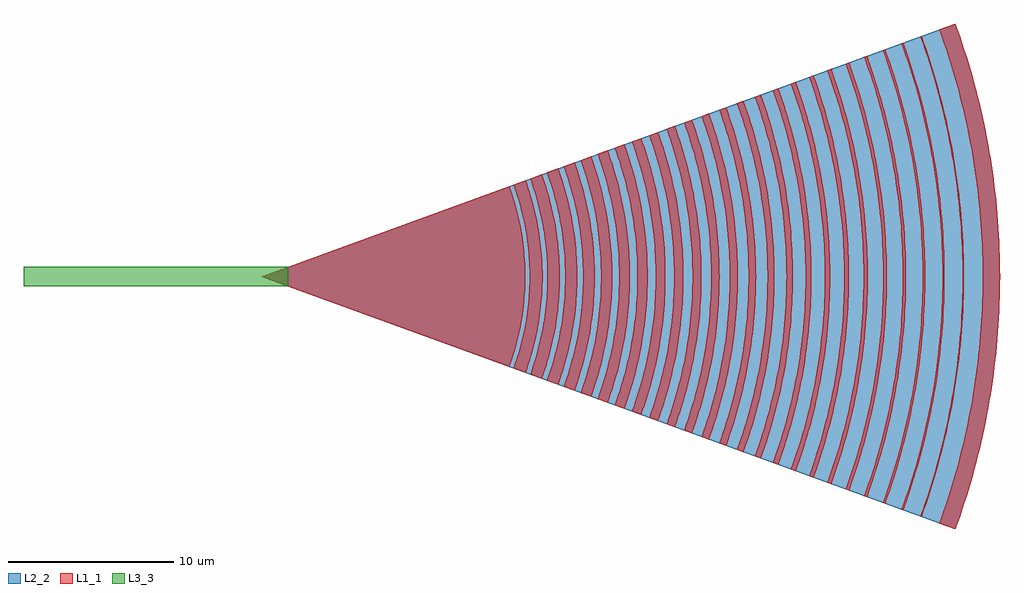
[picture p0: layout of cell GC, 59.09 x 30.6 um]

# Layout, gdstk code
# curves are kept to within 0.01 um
import gdstk
lib = gdstk.Library(unit=1e-6, precision=1e-09)
def R(c, l, rs):  # rectangles x0, y0, x1, y1
    for r in rs: c.add(gdstk.rectangle(r[:2], r[2:], *l))
def P(c, l, *ps):  # polygons
    for p in ps: c.add(gdstk.Polygon(p, *l))
L1_1 = (1, 1)
L2_2 = (2, 2)
L3_3 = (3, 3)

c_gc = lib.new_cell('GC')
P(c_gc, L1_1, [(2.352,0),(17.387,-5.472),(17.553,-4.993),(17.773,-4.264),(17.9,-3.772),(18.012,-3.277),(18.151,-2.528),(18.223,-2.025),(18.301,-1.268),(18.343,-0.508),(18.349,0.254),(18.319,1.015),(18.253,1.773),(18.151,2.528),(18.062,3.028),(17.958,3.525),(17.773,4.264),(17.553,4.993),(17.387,5.472)],
  [(18.367,-5.829),(18.616,-5.094),(18.831,-4.349),(19.012,-3.594),(19.158,-2.832),(19.269,-2.064),(19.346,-1.292),(19.387,-0.517),(19.395,0),(19.387,0.517),(19.346,1.292),(19.269,2.064),(19.158,2.832),(19.012,3.594),(18.831,4.349),(18.616,5.094),(18.367,5.829),(17.631,5.561),(17.873,4.844),(18.082,4.117),(18.257,3.381),(18.354,2.886),(18.471,2.138),(18.553,1.386),(18.6,0.631),(18.611,0.126),(18.6,-0.631),(18.553,-1.386),(18.471,-2.138),(18.397,-2.637),(18.257,-3.381),(18.082,-4.117),(17.873,-4.844),(17.631,-5.561)],
  [(19.352,-6.188),(19.611,-5.424),(19.835,-4.65),(20.025,-3.866),(20.18,-3.075),(20.299,-2.278),(20.383,-1.476),(20.43,-0.672),(20.442,-0.134),(20.43,0.672),(20.383,1.476),(20.299,2.278),(20.18,3.075),(20.025,3.866),(19.835,4.65),(19.611,5.424),(19.352,6.188),(18.64,5.929),(18.813,5.432),(19.043,4.677),(19.239,3.912),(19.35,3.398),(19.487,2.621),(19.558,2.099),(19.654,1.052),(19.684,0.263),(19.668,-0.789),(19.614,-1.576),(19.487,-2.621),(19.35,-3.398),(19.112,-4.423),(18.893,-5.181),(18.64,-5.929)],
  [(20.342,-6.548),(20.61,-5.757),(20.844,-4.955),(21.042,-4.144),(21.205,-3.324),(21.332,-2.499),(21.423,-1.669),(21.478,-0.835),(21.496,0),(21.478,0.835),(21.423,1.669),(21.332,2.499),(21.205,3.324),(21.042,4.144),(20.844,4.955),(20.61,5.757),(20.342,6.548),(19.655,6.298),(19.918,5.521),(20.074,4.997),(20.215,4.468),(20.396,3.668),(20.542,2.86),(20.619,2.319),(20.704,1.503),(20.74,0.957),(20.765,0.137),(20.74,-0.957),(20.651,-2.047),(20.542,-2.86),(20.34,-3.935),(20.147,-4.733),(19.918,-5.521),(19.655,-6.298)],
  [(21.336,-6.91),(21.609,-6.109),(21.848,-5.297),(22.052,-4.476),(22.222,-3.647),(22.358,-2.812),(22.458,-1.971),(22.537,-0.846),(22.554,0),(22.537,0.846),(22.458,1.971),(22.358,2.812),(22.222,3.647),(22.052,4.476),(21.848,5.297),(21.609,6.109),(21.336,6.91),(20.674,6.669),(20.857,6.144),(21.102,5.348),(21.314,4.542),(21.435,4),(21.542,3.454),(21.672,2.631),(21.766,1.803),(21.826,0.972),(21.85,0.139),(21.826,-0.972),(21.739,-2.08),(21.632,-2.906),(21.435,-4),(21.247,-4.811),(20.942,-5.88),(20.674,-6.669)],
  [(22.335,-7.273),(22.617,-6.447),(22.939,-5.328),(23.141,-4.478),(23.307,-3.621),(23.438,-2.758),(23.533,-1.89),(23.593,-1.018),(23.617,-0.146),(23.605,0.728),(23.557,1.6),(23.474,2.469),(23.307,3.621),(23.141,4.478),(22.939,5.328),(22.617,6.447),(22.335,7.273),(21.699,7.042),(21.977,6.225),(22.143,5.675),(22.363,4.841),(22.548,3.999),(22.698,3.15),(22.812,2.295),(22.868,1.723),(22.922,0.862),(22.94,0),(22.908,-1.149),(22.812,-2.295),(22.698,-3.15),(22.548,-3.999),(22.293,-5.12),(22.062,-5.951),(21.699,-7.042)],
  [(23.339,-7.639),(23.63,-6.788),(23.886,-5.925),(24.173,-4.761),(24.347,-3.878),(24.485,-2.99),(24.588,-2.096),(24.654,-1.199),(24.686,0),(24.654,1.199),(24.588,2.096),(24.485,2.99),(24.347,3.878),(24.173,4.761),(23.886,5.925),(23.63,6.788),(23.339,7.639),(22.728,7.417),(23.016,6.574),(23.268,5.72),(23.485,4.856),(23.667,3.985),(23.813,3.106),(23.922,2.222),(23.995,1.335),(24.036,0.148),(24.023,-0.742),(23.975,-1.631),(23.89,-2.517),(23.719,-3.692),(23.55,-4.567),(23.345,-5.433),(23.016,-6.574),(22.728,-7.417)],
  [(24.348,-8.006),(24.647,-7.131),(24.912,-6.244),(25.141,-5.348),(25.391,-4.141),(25.536,-3.227),(25.646,-2.309),(25.719,-1.387),(25.759,-0.154),(25.735,1.079),(25.674,2.002),(25.577,2.922),(25.391,4.141),(25.141,5.348),(24.912,6.244),(24.647,7.131),(24.348,8.006),(23.764,7.793),(24.055,6.941),(24.39,5.789),(24.602,4.914),(24.778,4.031),(24.92,3.142),(25.027,2.247),(25.098,1.35),(25.137,0.15),(25.125,-0.75),(25.078,-1.649),(24.96,-2.844),(24.83,-3.735),(24.602,-4.914),(24.39,-5.789),(24.055,-6.941),(23.764,-7.793)],
  [(25.362,-8.375),(25.758,-7.197),(26.015,-6.3),(26.304,-5.091),(26.48,-4.176),(26.622,-3.254),(26.756,-2.018),(26.815,-1.088),(26.838,-0.155),(26.827,0.777),(26.756,2.018),(26.622,3.254),(26.48,4.176),(26.304,5.091),(26.015,6.3),(25.758,7.197),(25.362,8.375),(24.804,8.172),(25.104,7.295),(25.37,6.408),(25.601,5.51),(25.855,4.301),(26.046,3.08),(26.147,2.159),(26.213,1.235),(26.245,0),(26.213,-1.235),(26.147,-2.159),(26.046,-3.08),(25.855,-4.301),(25.601,-5.51),(25.37,-6.408),(25.104,-7.295),(24.804,-8.172)],
  [(26.381,-8.746),(26.692,-7.842),(27.052,-6.619),(27.351,-5.379),(27.535,-4.441),(27.725,-3.18),(27.826,-2.229),(27.892,-1.275),(27.924,0),(27.892,1.275),(27.826,2.229),(27.725,3.18),(27.535,4.441),(27.351,5.379),(27.052,6.619),(26.692,7.842),(26.381,8.746),(25.85,8.553),(26.159,7.652),(26.433,6.74),(26.744,5.509),(26.936,4.577),(27.092,3.637),(27.245,2.377),(27.334,1.111),(27.358,0.159),(27.334,-1.111),(27.273,-2.061),(27.177,-3.008),(26.992,-4.264),(26.812,-5.199),(26.516,-6.434),(26.159,-7.652),(25.85,-8.553)],
  [(27.406,-9.119),(27.724,-8.192),(28.095,-6.94),(28.404,-5.671),(28.594,-4.71),(28.75,-3.743),(28.901,-2.446),(28.989,-1.143),(29.013,-0.163),(28.989,1.143),(28.929,2.12),(28.833,3.095),(28.65,4.388),(28.404,5.671),(28.095,6.94),(27.724,8.192),(27.406,9.119),(26.902,8.936),(27.317,7.701),(27.587,6.762),(27.893,5.496),(28.08,4.537),(28.275,3.249),(28.378,2.277),(28.445,1.302),(28.477,0),(28.445,-1.302),(28.378,-2.277),(28.275,-3.249),(28.08,-4.537),(27.893,-5.496),(27.587,-6.762),(27.317,-7.701),(26.902,-8.936)],
  [(28.435,-9.494),(28.761,-8.546),(29.142,-7.265),(29.387,-6.293),(29.658,-4.985),(29.82,-3.995),(29.981,-2.669),(30.077,-1.336),(30.109,0),(30.077,1.336),(29.981,2.669),(29.82,3.995),(29.658,4.985),(29.387,6.293),(29.142,7.265),(28.761,8.546),(28.435,9.494),(27.959,9.32),(28.279,8.39),(28.653,7.132),(28.893,6.178),(29.159,4.894),(29.364,3.598),(29.506,2.293),(29.585,0.984),(29.602,0),(29.585,-0.984),(29.506,-2.293),(29.364,-3.598),(29.159,-4.894),(28.893,-6.178),(28.653,-7.132),(28.279,-8.39),(27.959,-9.32)],
  [(29.47,-9.87),(29.907,-8.576),(30.194,-7.593),(30.446,-6.6),(30.727,-5.263),(30.896,-4.253),(31.065,-2.898),(31.17,-1.536),(31.21,-0.171),(31.186,1.195),(31.097,2.558),(30.944,3.915),(30.787,4.927),(30.522,6.267),(30.282,7.263),(29.907,8.576),(29.47,9.87),(29.022,9.707),(29.452,8.435),(29.734,7.467),(29.982,6.491),(30.258,5.176),(30.471,3.85),(30.622,2.515),(30.694,1.511),(30.733,0.168),(30.721,-0.839),(30.65,-2.181),(30.515,-3.517),(30.317,-4.846),(30.056,-6.164),(29.734,-7.467),(29.452,-8.435),(29.022,-9.707)],
  [(30.511,-10.249),(30.957,-8.928),(31.251,-7.924),(31.588,-6.571),(31.862,-5.204),(32.073,-3.825),(32.188,-2.785),(32.285,-1.394),(32.318,0),(32.285,1.394),(32.188,2.785),(32.073,3.825),(31.862,5.204),(31.588,6.571),(31.251,7.924),(30.957,8.928),(30.511,10.249),(30.091,10.096),(30.427,9.122),(30.821,7.806),(31.153,6.473),(31.423,5.126),(31.63,3.768),(31.744,2.744),(31.839,1.373),(31.871,0),(31.839,-1.373),(31.744,-2.744),(31.63,-3.768),(31.423,-5.126),(31.153,-6.473),(30.821,-7.806),(30.427,-9.122),(30.091,-10.096)],
  [(31.556,-10.63),(31.899,-9.637),(32.303,-8.297),(32.646,-6.94),(32.928,-5.569),(33.147,-4.187),(33.305,-2.796),(33.399,-1.399),(33.431,0),(33.399,1.399),(33.305,2.796),(33.147,4.187),(32.928,5.569),(32.646,6.94),(32.303,8.297),(31.899,9.637),(31.556,10.63),(31.166,10.488),(31.616,9.158),(31.913,8.148),(32.255,6.787),(32.534,5.411),(32.702,4.372),(32.87,2.978),(32.975,1.579),(33.015,0.175),(32.991,-1.228),(32.902,-2.629),(32.794,-3.676),(32.594,-5.065),(32.33,-6.444),(32.004,-7.809),(31.616,-9.158),(31.166,-10.488)],
  [(32.608,-11.012),(33.066,-9.661),(33.464,-8.29),(33.801,-6.904),(34.076,-5.503),(34.289,-4.092),(34.439,-2.673),(34.51,-1.605),(34.549,-0.178),(34.525,1.248),(34.439,2.673),(34.289,4.092),(34.076,5.503),(33.801,6.904),(33.464,8.29),(33.066,9.661),(32.608,11.012),(32.247,10.881),(32.707,9.524),(33.105,8.148),(33.44,6.755),(33.651,5.701),(33.876,4.286),(34.037,2.862),(34.133,1.432),(34.166,0),(34.133,-1.432),(34.037,-2.862),(33.876,-4.286),(33.651,-5.701),(33.44,-6.755),(33.105,-8.148),(32.707,-9.524),(32.247,-10.881)],
  [(33.665,-11.397),(34.132,-10.02),(34.539,-8.625),(34.885,-7.212),(35.168,-5.787),(35.39,-4.35),(35.548,-2.904),(35.643,-1.454),(35.675,0),(35.643,1.454),(35.548,2.904),(35.39,4.35),(35.168,5.787),(34.885,7.212),(34.539,8.625),(34.132,10.02),(33.665,11.397),(33.334,11.277),(33.692,10.241),(34.115,8.842),(34.475,7.426),(34.773,5.995),(35.007,4.552),(35.176,3.101),(35.282,1.643),(35.322,0.183),(35.298,-1.278),(35.237,-2.373),(35.14,-3.465),(35.007,-4.552),(34.898,-5.275),(34.704,-6.354),(34.556,-7.069),(34.303,-8.136),(33.911,-9.544),(33.692,-10.241),(33.334,-11.277)],
  [(34.728,-11.784),(35.204,-10.383),(35.62,-8.962),(35.974,-7.525),(36.266,-6.074),(36.496,-4.612),(36.662,-3.141),(36.766,-1.665),(36.805,-0.185),(36.782,1.295),(36.694,2.772),(36.543,4.245),(36.33,5.709),(36.128,6.801),(35.974,7.525),(35.62,8.962),(35.204,10.383),(34.728,11.784),(34.428,11.675),(34.675,10.972),(35.016,9.909),(35.417,8.475),(35.756,7.024),(35.968,5.927),(36.089,5.193),(36.241,4.086),(36.387,2.604),(36.454,1.489),(36.486,0),(36.454,-1.489),(36.387,-2.604),(36.241,-4.086),(36.089,-5.193),(35.968,-5.927),(35.756,-7.024),(35.417,-8.475),(35.016,-9.909),(34.675,-10.972),(34.428,-11.675)],
  [(35.797,-12.173),(36.047,-11.463),(36.394,-10.388),(36.803,-8.939),(37.15,-7.474),(37.435,-5.995),(37.657,-4.506),(37.816,-3.008),(37.911,-1.505),(37.943,0),(37.911,1.505),(37.816,3.008),(37.657,4.506),(37.435,5.995),(37.15,7.474),(36.803,8.939),(36.394,10.388),(36.047,11.463),(35.797,12.173),(35.527,12.075),(35.894,11.016),(36.119,10.304),(36.33,9.588),(36.617,8.505),(36.946,7.048),(37.152,5.947),(37.27,5.209),(37.418,4.099),(37.56,2.612),(37.639,1.12),(37.657,0),(37.639,-1.12),(37.56,-2.612),(37.418,-4.099),(37.27,-5.209),(37.152,-5.947),(36.946,-7.048),(36.617,-8.505),(36.33,-9.588),(36.119,-10.304),(35.894,-11.016),(35.527,-12.075)],
  [(36.872,-12.564),(37.248,-11.479),(37.479,-10.75),(37.897,-9.277),(38.252,-7.787),(38.546,-6.285),(38.776,-4.771),(38.943,-3.249),(39.047,-1.722),(39.087,-0.191),(39.063,1.339),(38.975,2.868),(38.824,4.391),(38.669,5.529),(38.546,6.285),(38.252,7.787),(37.897,9.277),(37.479,10.75),(37.248,11.479),(36.872,12.564),(36.634,12.478),(37.124,11.038),(37.452,9.946),(37.651,9.213),(38.005,7.734),(38.229,6.616),(38.359,5.867),(38.525,4.738),(38.691,3.227),(38.794,1.71),(38.833,0.19),(38.81,-1.33),(38.75,-2.469),(38.616,-3.984),(38.418,-5.491),(38.158,-6.989),(38.005,-7.734),(37.746,-8.844),(37.554,-9.58),(37.237,-10.675),(37.007,-11.4),(36.634,-12.478)],
  [(37.953,-12.958),(38.455,-11.485),(38.896,-9.993),(39.275,-8.485),(39.442,-7.725),(39.662,-6.579),(39.847,-5.427),(39.95,-4.656),(40.11,-3.108),(40.205,-1.555),(40.237,0),(40.205,1.555),(40.11,3.108),(39.95,4.656),(39.847,5.427),(39.662,6.579),(39.442,7.725),(39.275,8.485),(38.896,9.993),(38.455,11.485),(37.953,12.958),(37.747,12.883),(38.127,11.787),(38.361,11.05),(38.58,10.308),(38.881,9.187),(39.146,8.058),(39.304,7.301),(39.572,5.778),(39.778,4.245),(39.921,2.705),(40,1.16),(40.018,0),(40,-1.16),(39.921,-2.705),(39.778,-4.245),(39.572,-5.778),(39.304,-7.301),(39.146,-8.058),(38.881,-9.187),(38.58,-10.308),(38.361,-11.05),(38.127,-11.787),(37.747,-12.883)],
  [(39.04,-13.353),(39.55,-11.858),(39.893,-10.724),(40.102,-9.962),(40.474,-8.426),(40.784,-6.877),(41.031,-5.316),(41.174,-4.14),(41.25,-3.354),(41.354,-1.777),(41.394,-0.198),(41.39,0.593),(41.354,1.777),(41.25,3.354),(41.174,4.14),(41.031,5.316),(40.784,6.877),(40.474,8.426),(40.102,9.962),(39.893,10.724),(39.55,11.858),(39.04,13.353),(38.866,13.29),(39.128,12.549),(39.492,11.427),(39.924,9.915),(40.207,8.77),(40.377,8.002),(40.531,7.231),(40.733,6.069),(40.947,4.511),(41.098,2.946),(41.185,1.376),(41.209,0.197),(41.185,-1.376),(41.098,-2.946),(40.947,-4.511),(40.733,-6.069),(40.531,-7.231),(40.377,-8.002),(40.207,-8.77),(39.924,-9.915),(39.492,-11.427),(39.128,-12.549),(38.866,-13.29)],
  [(40.133,-13.751),(40.4,-12.995),(40.772,-11.851),(41.214,-10.309),(41.594,-8.751),(41.912,-7.179),(42.109,-5.992),(42.22,-5.198),(42.396,-3.604),(42.46,-2.805),(42.526,-1.604),(42.558,0),(42.526,1.604),(42.486,2.405),(42.396,3.604),(42.22,5.198),(42.109,5.992),(41.912,7.179),(41.594,8.751),(41.214,10.309),(40.772,11.851),(40.4,12.995),(40.133,13.751),(39.993,13.7),(40.259,12.947),(40.629,11.807),(40.857,11.041),(41.17,9.884),(41.533,8.328),(41.765,7.152),(41.9,6.365),(42.122,4.783),(42.281,3.193),(42.377,1.598),(42.409,0),(42.377,-1.598),(42.281,-3.193),(42.122,-4.783),(41.9,-6.365),(41.765,-7.152),(41.533,-8.328),(41.17,-9.884),(40.857,-11.041),(40.629,-11.807),(40.259,-12.947),(39.993,-13.7)],
  [(41.233,-14.152),(41.759,-12.612),(42,-11.834),(42.331,-10.66),(42.72,-9.08),(42.97,-7.885),(43.117,-7.085),(43.308,-5.879),(43.416,-5.073),(43.584,-3.454),(43.688,-1.83),(43.728,-0.203),(43.704,1.424),(43.668,2.237),(43.584,3.454),(43.416,5.073),(43.308,5.879),(43.117,7.085),(42.97,7.885),(42.72,9.08),(42.331,10.66),(41.881,12.224),(41.504,13.384),(41.233,14.152),(41.126,14.113),(41.526,12.963),(41.773,12.19),(42.222,10.631),(42.609,9.055),(42.859,7.863),(43.005,7.065),(43.252,5.461),(43.395,4.253),(43.471,3.445),(43.574,1.825),(43.614,0.203),(43.59,-1.42),(43.503,-3.04),(43.351,-4.656),(43.252,-5.461),(43.073,-6.665),(42.779,-8.261),(42.423,-9.845),(42.222,-10.631),(41.891,-11.802),(41.526,-12.963),(41.126,-14.113)],
  [(42.339,-14.554),(42.614,-13.776),(42.873,-12.993),(43.118,-12.205),(43.455,-11.014),(43.661,-10.215),(43.852,-9.412),(44.108,-8.201),(44.259,-7.389),(44.456,-6.167),(44.568,-5.35),(44.664,-4.53),(44.743,-3.709),(44.807,-2.886),(44.873,-1.65),(44.897,-0.825),(44.905,0),(44.897,0.825),(44.873,1.65),(44.807,2.886),(44.743,3.709),(44.664,4.53),(44.568,5.35),(44.456,6.167),(44.259,7.389),(44.108,8.201),(43.852,9.412),(43.661,10.215),(43.455,11.014),(43.118,12.205),(42.873,12.993),(42.614,13.776),(42.339,14.554),(42.267,14.528),(42.673,13.361),(42.924,12.577),(43.273,11.391),(43.587,10.196),(43.777,9.395),(43.951,8.59),(44.11,7.781),(44.253,6.97),(44.492,5.34),(44.629,4.112),(44.701,3.292),(44.757,2.47),(44.797,1.647),(44.821,0.824),(44.829,0),(44.821,-0.824),(44.797,-1.647),(44.757,-2.47),(44.701,-3.292),(44.629,-4.112),(44.492,-5.34),(44.253,-6.97),(44.11,-7.781),(43.951,-8.59),(43.777,-9.395),(43.587,-10.196),(43.273,-11.391),(42.924,-12.577),(42.673,-13.361),(42.267,-14.528)],
  [(43.452,-14.959),(43.731,-14.171),(43.994,-13.377),(44.361,-12.176),(44.586,-11.371),(44.796,-10.561),(44.99,-9.747),(45.252,-8.52),(45.407,-7.698),(45.479,-7.286),(45.61,-6.46),(45.726,-5.631),(45.826,-4.801),(45.909,-3.968),(45.977,-3.134),(46.029,-2.3),(46.049,-1.882),(46.077,-1.046),(46.089,-0.209),(46.089,0.209),(46.077,1.046),(46.049,1.882),(46.005,2.717),(45.945,3.552),(45.869,4.385),(45.778,5.216),(45.67,6.046),(45.479,7.286),(45.252,8.52),(45.081,9.339),(44.895,10.155),(44.693,10.966),(44.586,11.371),(44.361,12.176),(44.12,12.978),(43.731,14.171),(43.452,14.959),(43.415,14.946),(43.827,13.762),(44.082,12.966),(44.323,12.165),(44.548,11.36),(44.856,10.145),(45.042,9.331),(45.213,8.512),(45.368,7.691),(45.507,6.867),(45.631,6.04),(45.786,4.796),(45.87,3.965),(45.938,3.132),(45.966,2.715),(46.01,1.88),(46.038,1.045),(46.05,0.209),(46.05,-0.209),(46.038,-1.045),(46.01,-1.88),(45.966,-2.715),(45.906,-3.548),(45.83,-4.381),(45.738,-5.211),(45.631,-6.04),(45.44,-7.279),(45.292,-8.102),(45.13,-8.922),(44.856,-10.145),(44.654,-10.956),(44.548,-11.36),(44.323,-12.165),(44.082,-12.966),(43.827,-13.762),(43.415,-14.946)],
  [(44.392,-15.301),(44.939,-13.704),(45.31,-12.494),(45.538,-11.681),(45.751,-10.864),(46.041,-9.632),(46.373,-7.976),(46.516,-7.144),(46.7,-5.892),(46.849,-4.634),(46.929,-3.794),(47.018,-2.531),(47.058,-1.688),(47.09,0),(47.058,1.688),(47.018,2.531),(46.929,3.794),(46.849,4.634),(46.7,5.892),(46.516,7.144),(46.373,7.976),(46.041,9.632),(45.751,10.864),(45.538,11.681),(45.31,12.494),(44.939,13.704),(44.392,15.301),(43.452,14.959),(43.994,13.377),(44.361,12.176),(44.586,11.371),(44.99,9.747),(45.252,8.52),(45.407,7.698),(45.61,6.46),(45.726,5.631),(45.909,3.968),(46.029,2.3),(46.077,1.046),(46.089,0.209),(46.077,-1.046),(46.049,-1.882),(45.945,-3.552),(45.778,-5.216),(45.67,-6.046),(45.479,-7.286),(45.252,-8.52),(45.081,-9.339),(44.693,-10.966),(44.361,-12.176),(44.12,-12.978),(43.731,-14.171),(43.452,-14.959)])
P(c_gc, L2_2, [(2.352,0),(44.392,-15.301),(44.808,-14.106),(45.19,-12.898),(45.426,-12.088),(45.751,-10.864),(46.041,-9.632),(46.215,-8.806),(46.446,-7.561),(46.643,-6.31),(46.803,-5.054),(46.929,-3.794),(47.04,-2.11),(47.082,-0.844),(47.088,0.422),(47.058,1.688),(46.992,2.952),(46.849,4.634),(46.7,5.892),(46.516,7.144),(46.215,8.806),(45.948,10.043),(45.646,11.273),(45.31,12.494),(44.808,14.106),(44.392,15.301)])
R(c_gc, L3_3, [(-12,-0.6,4,0.6)])

lib.write_gds('GC.gds')
